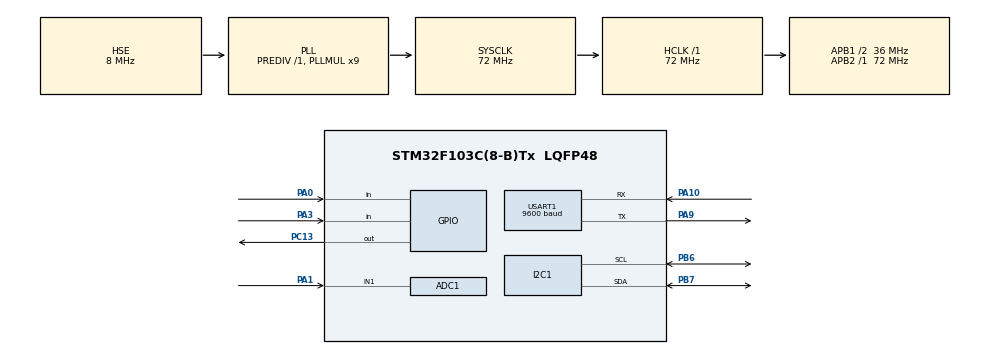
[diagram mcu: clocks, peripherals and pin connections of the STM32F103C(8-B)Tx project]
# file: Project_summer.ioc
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ADC1.Channel-5\#ChannelRegularConversion=ADC_CHANNEL_1
ADC1.NbrOfConversionFlag=1
ADC1.Rank-5\#ChannelRegularConversion=1
ADC1.SamplingTime-5\#ChannelRegularConversion=ADC_SAMPLETIME_1CYCLE_5
ADC1.master=1
Mcu.Family=STM32F1
Mcu.Name=STM32F103C(8-B)Tx
Mcu.Package=LQFP48
NVIC.PriorityGroup=NVIC_PRIORITYGROUP_4
NVIC.USART1_IRQn=true\:1\:0\:true\:false\:true\:true\:true\:true
PA0-WKUP.Signal=GPIO_Input
PA1.Signal=ADCx_IN1
PA10.Mode=Asynchronous
PA10.Signal=USART1_RX
PA13.Mode=Serial_Wire
PA13.Signal=SYS_JTMS-SWDIO
PA14.Mode=Serial_Wire
PA14.Signal=SYS_JTCK-SWCLK
PA3.Signal=GPIO_Input
PA9.Mode=Asynchronous
PA9.Signal=USART1_TX
PB6.Mode=I2C
PB6.Signal=I2C1_SCL
PB7.Mode=I2C
PB7.Signal=I2C1_SDA
PC13-TAMPER-RTC.Signal=GPIO_Output
PD0-OSC_IN.Mode=HSE-External-Oscillator
PD0-OSC_IN.Signal=RCC_OSC_IN
PD1-OSC_OUT.Mode=HSE-External-Oscillator
PD1-OSC_OUT.Signal=RCC_OSC_OUT
ProjectManager.HeapSize=0x200
ProjectManager.StackSize=0x400
ProjectManager.TargetToolchain=MDK-ARM V5.32
RCC.ADCPresc=RCC_ADCPCLK2_DIV6
RCC.AHBFreq_Value=72000000
RCC.APB1CLKDivider=RCC_HCLK_DIV2
RCC.APB1Freq_Value=36000000
RCC.APB1TimFreq_Value=72000000
RCC.APB2Freq_Value=72000000
RCC.APB2TimFreq_Value=72000000
RCC.HCLKFreq_Value=72000000
RCC.PLLMUL=RCC_PLL_MUL9
RCC.PLLSourceVirtual=RCC_PLLSOURCE_HSE
RCC.SYSCLKFreq_VALUE=72000000
RCC.SYSCLKSource=RCC_SYSCLKSOURCE_PLLCLK
RCC.USBFreq_Value=72000000
SH.ADCx_IN1.0=ADC1_IN1,IN1
TIM1.Period=0xffff-1
TIM1.Prescaler=71
TIM4.Prescaler=71
USART1.BaudRate=9600
USART1.VirtualMode=VM_ASYNC
VP_TIM1_VS_ClockSourceINT.Mode=Internal
VP_TIM4_VS_ClockSourceINT.Mode=Internal
board=custom

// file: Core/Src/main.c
/* USER CODE BEGIN Header */
/**
  ******************************************************************************
  * @file           : main.c
  * @brief          : Main program body
  ******************************************************************************
  * @attention
  *
  * Copyright (c) 2023 STMicroelectronics.
  * All rights reserved.
  *
  * This software is licensed under terms that can be found in the LICENSE file
  * in the root directory of this software component.
  * If no LICENSE file comes with this software, it is provided AS-IS.
  *
  ******************************************************************************
  */
/* USER CODE END Header */
#include "main.h"

/* USER CODE BEGIN Includes */
#include "uart.h"
#include "delay_timer.h"
#include "sensor.h"
//#include "DHT.h"
/* USER CODE END Includes */

ADC_HandleTypeDef hadc1;

I2C_HandleTypeDef hi2c1;

TIM_HandleTypeDef htim1;
TIM_HandleTypeDef htim4;

UART_HandleTypeDef huart1;

void SystemClock_Config(void);
static void MX_GPIO_Init(void);
static void MX_TIM1_Init(void);
static void MX_TIM4_Init(void);
static void MX_ADC1_Init(void);
static void MX_USART1_UART_Init(void);
static void MX_I2C1_Init(void);

/* USER CODE BEGIN 0 */
sensor_t sensorHandle;
static uint8_t data_flag = 0;
static uint8_t status_flag = 0;
static uint8_t uart_data_rx;
uint32_t tickAtThis = 0;
void HAL_UART_RxCpltCallback(UART_HandleTypeDef *huart)
{
	if(huart->Instance == huart1.Instance)
	{
		receive_data(uart_data_rx);
		HAL_UART_Receive_IT(&huart1, &uart_data_rx, 1);
	}

}
void min_application_handler(uint8_t min_id, uint8_t const *min_payload,
															uint8_t len_payload, uint8_t port)
{
	if(min_id == 0x02 && *min_payload == 0x11)
	{
		data_flag = 1;
	}
	if(min_id == 0x02 && *min_payload == 0x00)
	{
		status_flag = 1;
	}
}

/* USER CODE END 0 */

int main(void)
{

  /* MCU Configuration--------------------------------------------------------*/

  /* Reset of all peripherals, Initializes the Flash interface and the Systick. */

  HAL_Init();

  /* Configure the system clock */
  SystemClock_Config();

  /* Initialize all configured peripherals */
  MX_GPIO_Init();
  MX_TIM1_Init();
  MX_TIM4_Init();
  MX_ADC1_Init();
  MX_USART1_UART_Init();
  MX_I2C1_Init();
  /* USER CODE BEGIN 2 */
	HAL_UART_Receive_IT(&huart1, &uart_data_rx, 1);
	uart_init();
	DELAY_US_Init(&htim1);
	sensor_init(&sensorHandle, &tickAtThis);

  /* USER CODE END 2 */

  /* Infinite loop */
  while (1)
  {

    /* USER CODE BEGIN 3 */
		uart_receive_min();

		if(data_flag)
		{
		sensor_handle(&sensorHandle);
		uart_send_min(sensorHandle);
		data_flag = 0;
		}
		if(status_flag)
		{
			uart_sendFrame();
			status_flag =0;
		}
//		uart_sendFrame();
//		HAL_Delay(1000);
//		uart_test();

	}
  /* USER CODE END 3 */
}

void SystemClock_Config(void)
{
  RCC_OscInitTypeDef RCC_OscInitStruct = {0};
  RCC_ClkInitTypeDef RCC_ClkInitStruct = {0};
  RCC_PeriphCLKInitTypeDef PeriphClkInit = {0};

  /** Initializes the RCC Oscillators according to the specified parameters
  * in the RCC_OscInitTypeDef structure.
  */
  RCC_OscInitStruct.OscillatorType = RCC_OSCILLATORTYPE_HSE;
  RCC_OscInitStruct.HSEState = RCC_HSE_ON;
  RCC_OscInitStruct.HSEPredivValue = RCC_HSE_PREDIV_DIV1;
  RCC_OscInitStruct.HSIState = RCC_HSI_ON;
  RCC_OscInitStruct.PLL.PLLState = RCC_PLL_ON;
  RCC_OscInitStruct.PLL.PLLSource = RCC_PLLSOURCE_HSE;
  RCC_OscInitStruct.PLL.PLLMUL = RCC_PLL_MUL9;
  if (HAL_RCC_OscConfig(&RCC_OscInitStruct) != HAL_OK)
  {
    Error_Handler();
  }

  /** Initializes the CPU, AHB and APB buses clocks
  */
  RCC_ClkInitStruct.ClockType = RCC_CLOCKTYPE_HCLK|RCC_CLOCKTYPE_SYSCLK
                              |RCC_CLOCKTYPE_PCLK1|RCC_CLOCKTYPE_PCLK2;
  RCC_ClkInitStruct.SYSCLKSource = RCC_SYSCLKSOURCE_PLLCLK;
  RCC_ClkInitStruct.AHBCLKDivider = RCC_SYSCLK_DIV1;
  RCC_ClkInitStruct.APB1CLKDivider = RCC_HCLK_DIV2;
  RCC_ClkInitStruct.APB2CLKDivider = RCC_HCLK_DIV1;

  if (HAL_RCC_ClockConfig(&RCC_ClkInitStruct, FLASH_LATENCY_2) != HAL_OK)
  {
    Error_Handler();
  }
  PeriphClkInit.PeriphClockSelection = RCC_PERIPHCLK_ADC;
  PeriphClkInit.AdcClockSelection = RCC_ADCPCLK2_DIV6;
  if (HAL_RCCEx_PeriphCLKConfig(&PeriphClkInit) != HAL_OK)
  {
    Error_Handler();
  }
}

static void MX_ADC1_Init(void)
{

  ADC_ChannelConfTypeDef sConfig = {0};

  /** Common config
  */
  hadc1.Instance = ADC1;
  hadc1.Init.ScanConvMode = ADC_SCAN_DISABLE;
  hadc1.Init.ContinuousConvMode = DISABLE;
  hadc1.Init.DiscontinuousConvMode = DISABLE;
  hadc1.Init.ExternalTrigConv = ADC_SOFTWARE_START;
  hadc1.Init.DataAlign = ADC_DATAALIGN_RIGHT;
  hadc1.Init.NbrOfConversion = 1;
  if (HAL_ADC_Init(&hadc1) != HAL_OK)
  {
    Error_Handler();
  }

  /** Configure Regular Channel
  */
  sConfig.Channel = ADC_CHANNEL_1;
  sConfig.Rank = ADC_REGULAR_RANK_1;
  sConfig.SamplingTime = ADC_SAMPLETIME_1CYCLE_5;
  if (HAL_ADC_ConfigChannel(&hadc1, &sConfig) != HAL_OK)
  {
    Error_Handler();
  }

}

static void MX_I2C1_Init(void)
{

  hi2c1.Instance = I2C1;
  hi2c1.Init.ClockSpeed = 100000;
  hi2c1.Init.DutyCycle = I2C_DUTYCYCLE_2;
  hi2c1.Init.OwnAddress1 = 0;
  hi2c1.Init.AddressingMode = I2C_ADDRESSINGMODE_7BIT;
  hi2c1.Init.DualAddressMode = I2C_DUALADDRESS_DISABLE;
  hi2c1.Init.OwnAddress2 = 0;
  hi2c1.Init.GeneralCallMode = I2C_GENERALCALL_DISABLE;
  hi2c1.Init.NoStretchMode = I2C_NOSTRETCH_DISABLE;
  if (HAL_I2C_Init(&hi2c1) != HAL_OK)
  {
    Error_Handler();
  }

}

static void MX_TIM1_Init(void)
{

  TIM_ClockConfigTypeDef sClockSourceConfig = {0};
  TIM_MasterConfigTypeDef sMasterConfig = {0};

  htim1.Instance = TIM1;
  htim1.Init.Prescaler = 71;
  htim1.Init.CounterMode = TIM_COUNTERMODE_UP;
  htim1.Init.Period = 0xffff-1;
  htim1.Init.ClockDivision = TIM_CLOCKDIVISION_DIV1;
  htim1.Init.RepetitionCounter = 0;
  htim1.Init.AutoReloadPreload = TIM_AUTORELOAD_PRELOAD_DISABLE;
  if (HAL_TIM_Base_Init(&htim1) != HAL_OK)
  {
    Error_Handler();
  }
  sClockSourceConfig.ClockSource = TIM_CLOCKSOURCE_INTERNAL;
  if (HAL_TIM_ConfigClockSource(&htim1, &sClockSourceConfig) != HAL_OK)
  {
    Error_Handler();
  }
  sMasterConfig.MasterOutputTrigger = TIM_TRGO_RESET;
  sMasterConfig.MasterSlaveMode = TIM_MASTERSLAVEMODE_DISABLE;
  if (HAL_TIMEx_MasterConfigSynchronization(&htim1, &sMasterConfig) != HAL_OK)
  {
    Error_Handler();
  }

}

static void MX_TIM4_Init(void)
{

  TIM_ClockConfigTypeDef sClockSourceConfig = {0};
  TIM_MasterConfigTypeDef sMasterConfig = {0};

  htim4.Instance = TIM4;
  htim4.Init.Prescaler = 71;
  htim4.Init.CounterMode = TIM_COUNTERMODE_UP;
  htim4.Init.Period = 65535;
  htim4.Init.ClockDivision = TIM_CLOCKDIVISION_DIV1;
  htim4.Init.AutoReloadPreload = TIM_AUTORELOAD_PRELOAD_DISABLE;
  if (HAL_TIM_Base_Init(&htim4) != HAL_OK)
  {
    Error_Handler();
  }
  sClockSourceConfig.ClockSource = TIM_CLOCKSOURCE_INTERNAL;
  if (HAL_TIM_ConfigClockSource(&htim4, &sClockSourceConfig) != HAL_OK)
  {
    Error_Handler();
  }
  sMasterConfig.MasterOutputTrigger = TIM_TRGO_RESET;
  sMasterConfig.MasterSlaveMode = TIM_MASTERSLAVEMODE_DISABLE;
  if (HAL_TIMEx_MasterConfigSynchronization(&htim4, &sMasterConfig) != HAL_OK)
  {
    Error_Handler();
  }

}

static void MX_USART1_UART_Init(void)
{

  huart1.Instance = USART1;
  huart1.Init.BaudRate = 9600;
  huart1.Init.WordLength = UART_WORDLENGTH_8B;
  huart1.Init.StopBits = UART_STOPBITS_1;
  huart1.Init.Parity = UART_PARITY_NONE;
  huart1.Init.Mode = UART_MODE_TX_RX;
  huart1.Init.HwFlowCtl = UART_HWCONTROL_NONE;
  huart1.Init.OverSampling = UART_OVERSAMPLING_16;
  if (HAL_UART_Init(&huart1) != HAL_OK)
  {
    Error_Handler();
  }

}

static void MX_GPIO_Init(void)
{
  GPIO_InitTypeDef GPIO_InitStruct = {0};

  /* GPIO Ports Clock Enable */
  __HAL_RCC_GPIOC_CLK_ENABLE();
  __HAL_RCC_GPIOD_CLK_ENABLE();
  __HAL_RCC_GPIOA_CLK_ENABLE();
  __HAL_RCC_GPIOB_CLK_ENABLE();

  /*Configure GPIO pin Output Level */
  HAL_GPIO_WritePin(GPIOC, GPIO_PIN_13, GPIO_PIN_RESET);

  /*Configure GPIO pin : PC13 */
  GPIO_InitStruct.Pin = GPIO_PIN_13;
  GPIO_InitStruct.Mode = GPIO_MODE_OUTPUT_PP;
  GPIO_InitStruct.Pull = GPIO_NOPULL;
  GPIO_InitStruct.Speed = GPIO_SPEED_FREQ_LOW;
  HAL_GPIO_Init(GPIOC, &GPIO_InitStruct);

  /*Configure GPIO pins : PA0 PA3 */
  GPIO_InitStruct.Pin = GPIO_PIN_0|GPIO_PIN_3;
  GPIO_InitStruct.Mode = GPIO_MODE_INPUT;
  GPIO_InitStruct.Pull = GPIO_NOPULL;
  HAL_GPIO_Init(GPIOA, &GPIO_InitStruct);

}

void Error_Handler(void)
{
}
